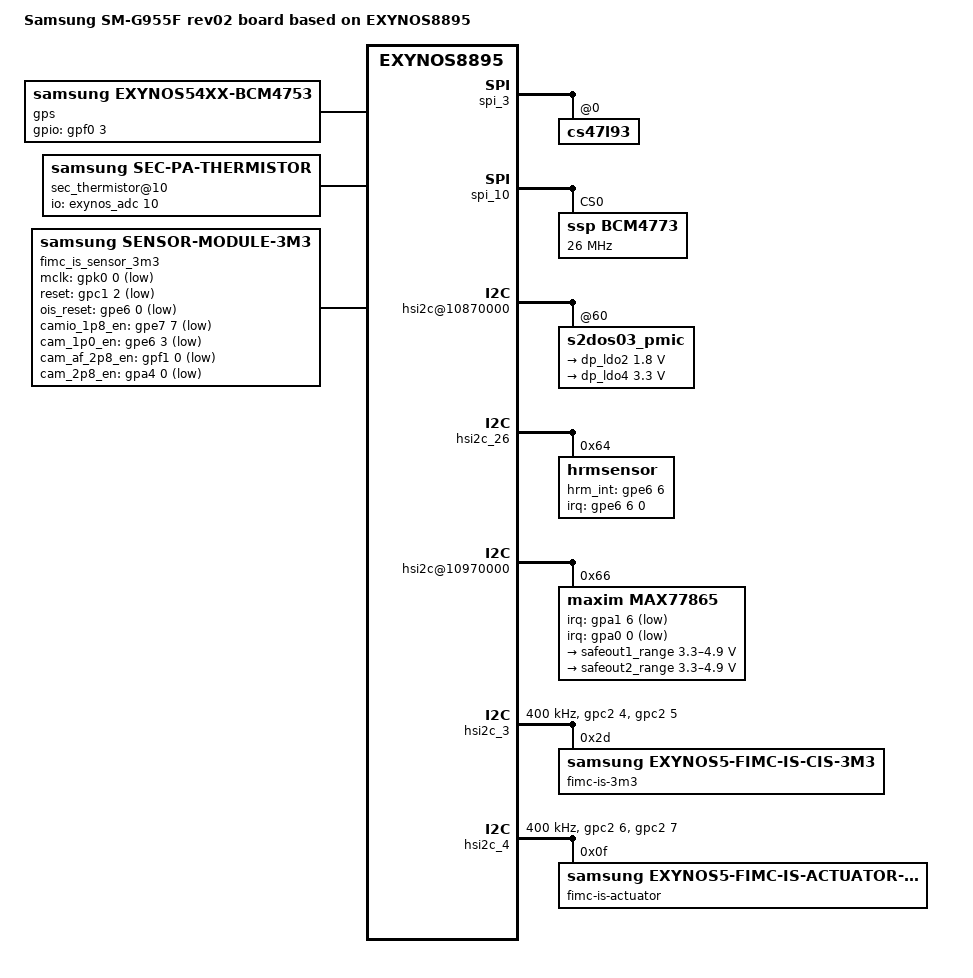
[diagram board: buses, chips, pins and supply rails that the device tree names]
/*
 * SAMSUNG EXYNOS8895 board device tree source
 *
 * Copyright (c) 2016 Samsung Electronics Co., Ltd.
 *		http://www.samsung.com
 *
 * This program is free software; you can redistribute it and/or modify
 * it under the terms of the GNU General Public License version 2 as
 * published by the Free Software Foundation.
*/

/dts-v1/;
#include "exynos8895-dream2lte_common.dtsi"
#include "battery_data_dream2lte_eur_07.dtsi"
#include "exynos8895-dream2lte_motor.dtsi"
#include "exynos8895-dream2lte_svcled.dtsi"
#include "ccic-s2mm005_01.dtsi"
#include "exynos8895-dreamlte_mst_00.dtsi"
#include "exynos8895-dream2lte_gpio_08.dtsi"

/ {
	model = "Samsung SM-G955F rev02 board based on EXYNOS8895";
	model_info-chip = <8895>;
	model_info-platform = "android";
	model_info-subtype = "samsung";
	model_info-hw_rev = <8>;
	model_info-hw_rev_end = <8>;
	compatible = "samsung, SM-G955F rev02", "samsung,EXYNOS8895";

	spi_3: spi@10460000 {
		status = "okay";
		cs47l93: cs47l93@0 {
			cirrus,gpio-defaults = <
				0xffffffff 0xffffffff /* GPIO1 */
				0xffffffff 0xffffffff /* GPIO2 */
				0x00002001 0x00009000 /* SPKCLK1 /   GPIO3 */
				0x00002001 0x00009000 /* SPKDAT /    GPIO4 */
				0x00002000 0x00006000 /* AIF1TXDAT / GPIO5 */
				0x00002000 0x00006000 /* AIF1BCLK /  GPIO6 */
				0x00002000 0x00006000 /* AIF1RXDAT / GPIO7 */
				0x00002000 0x00006000 /* AIF1LRCLK / GPIO8 */
				0x00002001 0x00009000 /* AIF2TXDAT / GPIO9 */
				0x00002001 0x00009000 /* AIF2BCLK /  GPIO10 */
				0x00002001 0x00009000 /* AIF2RXDAT / GPIO11 */
				0x00002000 0x00006000 /* AIF2LRCLK / GPIO12 */
				0x00002000 0x00006000 /* AIF3TXDAT / GPIO13 */
				0x00002000 0x00006000 /* AIF3BCLK /  GPIO14 */
				0x00002000 0x00006000 /* AIF3RXDAT / GPIO15 */
				0x00002000 0x00006000 /* AIF3LRCLK / GPIO16 */
			>;

			cirrus,accdet {
				acc@1 {
					cirrus,hpdet-ext-res = <3300>;
				};
			};
		};
	};

	spi_10: spi@108C0000{
		#address-cells = <1>;
		#size-cells = <0>;
	
		pinctrl-names = "default";
		pinctrl-0 = <&spi1_mosi_sck_ssn &spi1_miso>;

		num-cs = <1>;
		status = "okay";
/*
		dma-mode;
		dmas = <&pdma0 21 0
			&pdma0 20 0>;
*/
		BCM4773@0 {
			compatible = "ssp,BCM4773";
			reg = <0>;
			spi-max-frequency = <26000000>;
			spi-cpol;
			spi-cpha;
			pinctrl-names = "default";
			pinctrl-0 = <&ssp_host_req &ssp_mcu_req &ssp_mcu_resp &ssp_batch_wake_irq &ssp_pwr_en>;
		
			gpio-controller;
			#gpio-cells = <2>;
			ssp-host-req = <&gpa3 4 0x00>;
			ssp-mcu-req = <&gpe6 1 0x00>;
			ssp-mcu-resp = <&gpi1 5 0x00>;
			ssp-batch-wake-irq = <&gpa2 5 0x00>;
			ssp-acc-position = <5>;
			ssp-mag-position = <4>;
			ssp-sns-combination = <0>;
			ssp-ap-rev = <1>;
			ssp-mag-array = /bits/ 8 <3 82 229 179 250 9 0 107 203 53 203 124 235 172 1 190 0 58 186 99 183 252 196 109 10 76 28>;
			ssp-glass-type = <0>;
			ssp-mag-type = <1>;
			ssp-pwr-en = <&gpa4 6 0x00>;
			
			controller-data {
				cs-gpio = <&gpe2 6 0>;
				samsung,spi-feedback-delay = <0>;
			};
		};
	};

	sound {
		status = "okay";
		auxpdm-gpio;
	};

	gps {
		compatible = "samsung,exynos54xx-bcm4753";

		pinctrl-names = "hub_en";
		pinctrl-0 = <&ssp_gps_pwr_en>;

		gpios = <&gpf0 3 0x0>;
		status = "okay";
	};
	
	dwmmc2@11500000 {
		card-detect-invert;
	};

	hsi2c@10870000 {
		status = "okay";
		s2dos03_pmic@60 {
			regulators {
				dp_ldo2: s2dos03-ldo2 {
					regulator-name = "HRM_1.8V_AP";
					regulator-min-microvolt = <1800000>;
					regulator-max-microvolt = <1800000>;
				};
				dp_ldo4: s2dos03-ldo4 {
					regulator-name = "HRM_3.3V_AP";
					regulator-min-microvolt = <3300000>;
					regulator-max-microvolt = <3300000>;
				};
			};
		};
	};

	speedy@15B50000{
		status = "okay";
		s2mps17mfd@00 {
			regulators {
				ldo34_reg: LDO34 {
					regulator-name = "tsp_io";
					regulator-min-microvolt = <1850000>;
					regulator-max-microvolt = <1850000>;
				};
				ldo35_reg: LDO35 {
					regulator-name = "tsp_avdd";
					regulator-min-microvolt = <3300000>;
					regulator-max-microvolt = <3300000>;
				};
			};
		};
	};

	sec_thermistor@2 {
		status = "disabled";
	};

	sec_thermistor@10 {
		compatible = "samsung,sec-pa-thermistor";
		status = "okay";

		adc_array = <327 347 367 388 410 433 456 482 507 534
			562 591 621 651 684 717 750 786 821 858
			896 935 975 1016 1057 1100 1143 1187 1231 1277
			1323 1369 1416 1463 1511 1559 1608 1657 1706 1755
			1804 1853 1902 1951 2000 2048 2096 2144 2192 2239
			2285 2332 2378 2421 2467 2510 2553 2596 2637 2678
			2719 2758 2797 2833 2872 2906 2942 2976 3011 3042
			3074 3106 3136 3165 3195 3222 3249 3277 3302 3327
			3352 3375 3397 3420 3441 3461 3482 3502 3520 3538
			3557 3573 3591 3607 3620 3636 3650 3666 3680 3691
			3705 3716 3730 3741 3752 3761 3773 3782 3793 3802
			3812>;

		temp_array =
			<(-200) (-190) (-180) (-170) (-160) (-150) (-140) (-130) (-120) (-110)
			(-100) (-90) (-80) (-70) (-60) (-50) (-40) (-30) (-20) (-10)
			0 10 20 30 40 50 60 70 80 90
			100 110 120 130 140 150 160 170 180 190
			200 210 220 230 240 250 260 270 280 290
			300 310 320 330 340 350 360 370 380 390
			400 410 420 430 440 450 460 470 480 490
			500 510 520 530 540 550 560 570 580 590
			600 610 620 630 640 650 660 670 680 690
			700 710 720 730 740 750 760 770 780 790
			800 810 820 830 840 850 860 870 880 890
			900>;

		io-channels = <&exynos_adc 10>;
		io-channel-names = "adc-pa-temp";
		io-channel-ranges;
	};

	hsi2c_26: hsi2c@10910000 {
		status = "okay";
		hrmsensor@64 {
			compatible = "hrmsensor";
			reg = <0x64>;
			interrupt-parent = <&gpe6>;
			interrupts = <6 0 0>;
			hrmsensor,hrm_int-gpio = <&gpe6 6 0>;
			pinctrl-names = "default", "sleep", "idle";
			pinctrl-0 = <&hrm_irq>;
			pinctrl-1 = <&hrm_irqsleep>;
			pinctrl-2 = <&hrm_irqidle>;
			hrmsensor,vdd_1p8 = "HRM_1.8V_AP";
			hrmsensor,led_3p3 = "HRM_3.3V_AP";
			hrmsensor,i2c_1p8 = "VDD_NFC_1P8";
		};
	};

	pinctrl@164B0000 {
		max77865_irq: max77865-irq {
			samsung,pins = "gpa1-6";
			samsung,pin-function = <0xf>;
			samsung,pin-pud = <0>; 
			samsung,pin-drv = <0>; 
		};

		muic_irq: muic-irq {
			samsung,pins = "gpa0-0";
			samsung,pin-pud = <0>; 
			samsung,pin-drv = <0>; 
		};
	};

	hsi2c@10970000 {
		status = "okay";

		max77865@66 {
			compatible = "maxim,max77865";
			pinctrl-names = "default";
			pinctrl-0 = <&max77865_irq &muic_irq &pwm_tout1>;
			reg = <0x66>;
			max77865,irq-gpio = <&gpa1 6 1>;
			muic-universal,irq-gpio = <&gpa0 0 1>;
			muic-universal,chip_name = "max,max77865";
			max77865,wakeup;
			muic,undefined_range;

			regulators {
				ESAFEOUT1 {
					regulator-compatible = "safeout1";
					regulator-name = "safeout1_range";
					regulator-min-microvolt = <3300000>;
					regulator-max-microvolt = <4900000>;
					regulator-boot-on;
				};

				ESAFEOUT2 {
					regulator-compatible = "safeout2";
					regulator-name = "safeout2_range";
					regulator-min-microvolt = <3300000>;
					regulator-max-microvolt = <4900000>;
				};
			};
		};
	};

	pinctrl@164B0000 {
		dp_irq: dp_irq {
			samsung,pins = "gpa3-1";
			samsung,pin-function = <3>;
			samsung,pin-pud = <0>;
		};
	};

	speedy@15B50000{
		status = "okay";
		s2mps17mfd@00 {
			regulators {
				ldo6_reg: LDO6 {
					regulator-name = "vdd_ldo6";
					regulator-min-microvolt = <3100000>;
					regulator-max-microvolt = <3100000>;
					regulator-ramp-delay = <12000>;
				};
				ldo37_reg: LDO37 {
						regulator-name = "VDD_DP_1P8";
						regulator-min-microvolt = <1800000>;
						regulator-max-microvolt = <1800000>;
					};
			};
		};
	};

	displayport: displayport@0x11090000 {
		dp,aux_sw_oe = <&gpi1 3 0>;
		dp,sbu_sw_sel = <&gpe7 5 0>;
		dp,usb_con_sel = <&gpi1 7 0>;
		/*dp,aux_vdd = "VDD_DP_1P8";*/
		dp,hpd_gpio_irq;

		pinctrl-names = "default";
		pinctrl-0 = <&dp_irq>;
	};

	hsi2c_3: hsi2c@109B0000 {
		 gpios = <&gpc2 4 0 &gpc2 5 0>;
		 status = "okay";
		 clock-frequency = <400000>;
		 samsung,reset-before-trans;

		 pinctrl-names = "default","on_i2c","off_i2c";
		 pinctrl-0 = <&hsi2c3_bus_in>;
		 pinctrl-1 = <&hsi2c3_bus>;
		 pinctrl-2 = <&hsi2c3_bus_in>;

		 fimc-is-3m3@2D {
			 compatible = "samsung,exynos5-fimc-is-cis-3m3";
			 reg = <0x2D>; /* 1 bit right shift */
			 id = <2>; /* matching sensor id */
			 setfile = "default";
		 };
	};

	hsi2c_4: hsi2c@109C0000 {
		gpios = <&gpc2 6 0 &gpc2 7 0>;
		status = "okay";
		clock-frequency = <400000>;
		samsung,reset-before-trans;

		pinctrl-names = "default","on_i2c","off_i2c";
		pinctrl-0 = <&hsi2c4_bus_in>;
		pinctrl-1 = <&hsi2c4_bus>;
		pinctrl-2 = <&hsi2c4_bus_in>;

		fimc-is-actuator@0F {
			compatible = "samsung,exynos5-fimc-is-actuator-ak7371";
			reg = <0x0F>;
			id = <2>; /* matching sensor id */
			place = <2>; /* 0: Back  1: Front  2: Tele*/
		};
	};

	fimc_is_sensor_imx333: fimc-is_sensor_imx333@34 {
		status = "okay";
		gpio_cam_af_2p8_en = <&gpf1 0 0x1>; /* tele AF for factory */
		gpio_camio_1p8_en = <&gpe7 7 0x1>; /* F-Rom IO LDO*/
		power_seq_id = <1>;  /* S6 Compatible (HWrev0~8) */

		ois {
			product_name = <1>; /* RUMBA-S4 */
			i2c_addr = <0x48>;
			i2c_ch = <1>; /* I2C 1 */
		};
	};

	fimc_is_sensor_2l2: fimc-is_sensor_2l2@5A {
		status = "okay";
		gpio_cam_af_2p8_en = <&gpf1 0 0x1>; /* tele AF for factory */
		gpio_camio_1p8_en = <&gpe7 7 0x1>; /* F-Rom IO LDO*/
		power_seq_id = <1>;  /* S6 Compatible (HWrev0~8) */

		ois {
			product_name = <1>; /* RUMBA-S4 */
			i2c_addr = <0x48>;
			i2c_ch = <1>; /* I2C 1 */
		};
	};

	fimc_is_sensor_3m3: fimc-is_sensor_3m3@5A {
		compatible = "samsung,sensor-module-3m3";

		pinctrl-names = "pin0", "pin1", "pin2", "default", "release";
		pinctrl-0 = <>;
		pinctrl-1 = <&fimc_is_mclk0_out &fimc_is_mclk2_out>;
		pinctrl-2 = <&fimc_is_mclk0_fn &fimc_is_mclk2_fn>;
		pinctrl-3 = <&sub_cam_en_out &sub_cam_1p0_out &sub_cam_io_out &sub_cam_af_out &sub_cam_rst_out>;
		pinctrl-4 = <>;

		position = <2>;	/* Rear:0. Front:1, Tele:2 */
		id = <2>; /* bns_id */
		mclk_ch = <0>;
		sensor_i2c_ch = <2>; /* I2C 2 */
		sensor_i2c_addr = <0x5A>;

		gpio_mclk = <&gpk0 0 0x1>; /* mclk shared with wide-cam */
		gpio_reset = <&gpc1 2 0x1>; /* sensor reset */
		gpio_ois_reset = <&gpe6 0 0x1>; /* ois reset */
		gpio_camio_1p8_en = <&gpe7 7 0x1>;
		gpio_cam_1p0_en = <&gpe6 3 0x1>;
		gpio_cam_af_2p8_en = <&gpf1 0 0x1>;
		gpio_cam_2p8_en = <&gpa4 0 0x1>;

		power_seq_id = <1>;  /* [0: < Rev0.2], [1: > Rev0.2] */

		status = "okay";

		af {
			product_name = <17>; /* ak7371 for TELE*/
			i2c_addr = <0x1E>;
			i2c_ch = <3>; /* I2C 3 */
		};

		flash {
			product_name = <100>; /* NOTHING */
		};

		preprocessor {
			product_name = <100>; /* NOTHING */
		};

		internal_vc {
			vc_list = <1 1>;  /* channel, data_type */
		};
	};

	fimc_is@13140000 {
		pinctrl-names = "default","release";
		pinctrl-0 = <&fimc_is_flash_is &fimc_is_mclk0_out &fimc_is_mclk1_out &fimc_is_mclk2_out &fimc_is_mclk3_out>;
		pinctrl-1 = <>;

		vender {
			rear_sensor_id = <112>; /* 2L1:29 IMX260:109 IMX333:112*/
			front_sensor_id = <111>; /* IMX320 : 111 3H1 : 31 */
			rear_second_sensor_id = <33>;
			secure_sensor_id = <254>; /* 5E6:254 */
			use_module_check;
			use_ois_hsi2c;
			use_ois;
			/*skip_cal_loading;*/
			check_sensor_vendor;
			f_rom_power = <1>; /* 0:Wide, 1:Tele */

			max_camera_num = <4>;
			camera_info0 {                          // 0 : rear
				isp = <0>;                      /* 0 : INT , 1 : EXT , 2 : SOC */
				cal_memory = <1>;               /* 0 : N , 1 : FROM , 2 : EEPROM , 3 : OTP  */
				read_version = <0>;             /* 0 : SYSFS , 1 : CAMON */
				core_voltage = <1>;             /* 0 : N , 1 : Y  */
				upgrade = <0>;          /* 0 : N , 1 : SYSFS , 2 : CAMON */
				fw_write = <0>;         /* 0 : N,  1 : OS, 2 : SD, 3 : ALL */
				fw_dump = <0>;          /* 0 : N , 1 : Y  */
				companion = <1>;                /* 0 : N , 1 : Y  */
				ois = <1>;                      /* 0 : N , 1 : Y  */
				valid = <1>;					/* 0 : INVALID , 1 : VALID   */
		        };
			camera_info1 {                          // 1 : front
				isp = <0>;                      /* 0 : INT , 1 : EXT , 2 : SOC */
				cal_memory = <2>;               /* 0 : N , 1 : FROM , 2 : EEPROM , 3 : OTP  */
				read_version = <0>;             /* 0 : SYSFS , 1 : CAMON */
				core_voltage = <0>;             /* 0 : N , 1 : Y  */
				upgrade = <0>;          /* 0 : N , 1 : SYSFS , 2 : CAMON */
				fw_write = <0>;         /* 0 : N,  1 : OS, 2 : SD, 3 : ALL */
				fw_dump = <0>;          /* 0 : N , 1 : Y  */
				companion = <1>;                /* 0 : N , 1 : Y  */
				ois = <0>;                      /* 0 : N , 1 : Y  */
				valid = <1>;					/* 0 : INVALID , 1 : VALID   */
		        };
			camera_info2 {                          // 2 : tele
				isp = <0>;                      /* 0 : INT , 1 : EXT , 2 : SOC */
				cal_memory = <1>;               /* 0 : N , 1 : FROM , 2 : EEPROM , 3 : OTP  */
				read_version = <0>;             /* 0 : SYSFS , 1 : CAMON */
				core_voltage = <0>;             /* 0 : N , 1 : Y  */
				upgrade = <0>;          /* 0 : N , 1 : SYSFS , 2 : CAMON */
				fw_write = <0>;         /* 0 : N,  1 : OS, 2 : SD, 3 : ALL */
				fw_dump = <0>;          /* 0 : N , 1 : Y  */
				companion = <0>;                /* 0 : N , 1 : Y  */
				ois = <0>;                      /* 0 : N , 1 : Y  */
				valid = <0>;					/* 0 : INVALID , 1 : VALID   */
		        };
			camera_info3 {				// 3 : iris
				isp = <2>;			/* 0 : INT , 1 : EXT , 2 : SOC */
				cal_memory = <0>;		/* 0 : N , 1 : FROM , 2 : EEPROM , 3 : OTP  */
				read_version = <1>;		/* 0 : SYSFS , 1 : CAMON */
				core_voltage = <0>;		/* 0 : N , 1 : Y  */
				upgrade = <0>;		/* 0 : N , 1 : SYSFS , 2 : CAMON */
				fw_write = <0>;		/* 0 : N,  1 : OS, 2 : SD, 3 : ALL */
				fw_dump = <0>;		/* 0 : N , 1 : Y  */
				companion = <0>;		/* 0 : N , 1 : Y  */
				ois = <0>;			/* 0 : N , 1 : Y  */
				valid = <1>;					/* 0 : INVALID , 1 : VALID   */
			};
		};
	};
};
